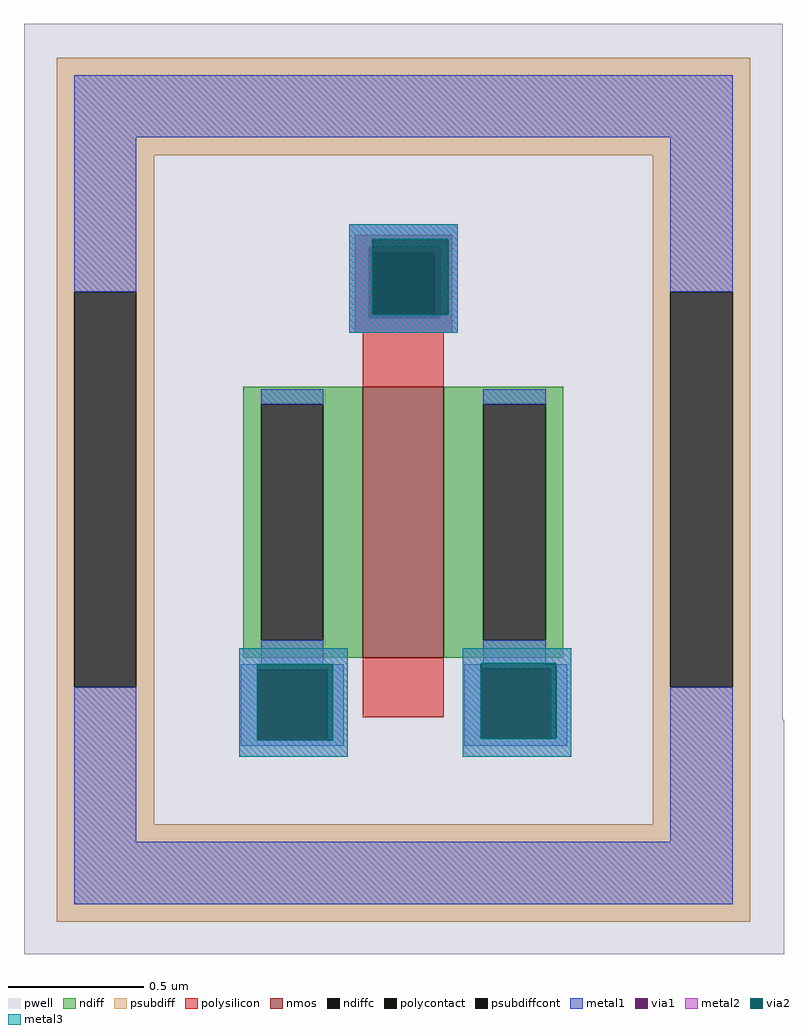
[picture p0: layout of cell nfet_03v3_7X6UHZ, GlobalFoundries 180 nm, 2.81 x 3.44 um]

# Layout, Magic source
magic
tech gf180mcuD
magscale 1 10
<< pwell >>
rect -280 -170 280 344
rect -280 -343 281 -170
<< nmos >>
rect -30 -124 30 76
<< ndiff >>
rect -118 63 -30 76
rect -118 -111 -105 63
rect -59 -111 -30 63
rect -118 -124 -30 -111
rect 30 63 118 76
rect 30 -111 59 63
rect 105 -111 118 63
rect 30 -124 118 -111
<< ndiffc >>
rect -105 -111 -59 63
rect 59 -111 105 63
<< psubdiff >>
rect -256 247 256 319
rect -256 146 -184 247
rect -256 -146 -243 146
rect -197 -146 -184 146
rect 184 146 256 247
rect -256 -247 -184 -146
rect 184 -146 197 146
rect 243 -146 256 146
rect 184 -247 256 -146
rect -256 -319 256 -247
<< psubdiffcont >>
rect -243 -146 -197 146
rect 197 -146 243 146
<< polysilicon >>
rect -36 175 36 188
rect -36 129 -23 175
rect 23 129 36 175
rect -36 116 36 129
rect -30 76 30 116
rect -30 -168 30 -124
<< polycontact >>
rect -23 129 23 175
<< metal1 >>
rect -243 260 243 306
rect -243 146 -197 260
rect -40 179 40 196
rect -40 127 -25 179
rect 27 127 40 179
rect -40 116 40 127
rect 197 146 243 260
rect -105 63 -59 74
rect -105 -129 -59 -111
rect 59 63 105 74
rect 59 -129 105 -111
rect -243 -260 -197 -146
rect -120 -133 -44 -129
rect -120 -185 -108 -133
rect -56 -185 -44 -133
rect -120 -189 -44 -185
rect 45 -132 121 -129
rect 45 -184 57 -132
rect 109 -184 121 -132
rect 45 -189 121 -184
rect 197 -260 243 -146
rect -243 -306 243 -260
<< via1 >>
rect -25 175 27 179
rect -25 129 -23 175
rect -23 129 23 175
rect 23 129 27 175
rect -25 127 27 129
rect -108 -185 -56 -133
rect 57 -184 109 -132
<< metal2 >>
rect -40 185 40 196
rect -40 179 -23 185
rect -40 127 -25 179
rect 33 129 40 185
rect 27 127 40 129
rect -40 116 40 127
rect -121 -129 -41 -117
rect -121 -185 -108 -129
rect -52 -185 -41 -129
rect -121 -197 -41 -185
rect 44 -128 124 -117
rect 44 -184 57 -128
rect 113 -184 124 -128
rect 44 -197 124 -184
<< via2 >>
rect -23 179 33 185
rect -23 129 27 179
rect 27 129 33 179
rect -108 -133 -52 -129
rect -108 -185 -56 -133
rect -56 -185 -52 -133
rect 57 -132 113 -128
rect 57 -184 109 -132
rect 109 -184 113 -132
<< metal3 >>
rect -40 185 40 196
rect -40 129 -23 185
rect 33 129 40 185
rect -40 116 40 129
rect -121 -129 -41 -117
rect -121 -185 -108 -129
rect -52 -185 -41 -129
rect -121 -197 -41 -185
rect 44 -128 124 -117
rect 44 -184 57 -128
rect 113 -184 124 -128
rect 44 -197 124 -184
<< properties >>
string FIXED_BBOX -220 -226 220 226
string gencell nfet_03v3
string library gf180mcu
string parameters w 1 l 0.3 m 1 nf 1 diffcov 100 polycov 100 guard 1 glc 1 grc 1 gtc 0 gbc 0 tbcov 100 rlcov 100 topc 1 botc 0 poverlap 0 doverlap 1 lmin 0.28 wmin 0.22 class mosfet full_metal 1 compatible {nfet_03v3 nfet_05v0 nfet_06v0 nfet_06v0_nvt}
<< end >>
